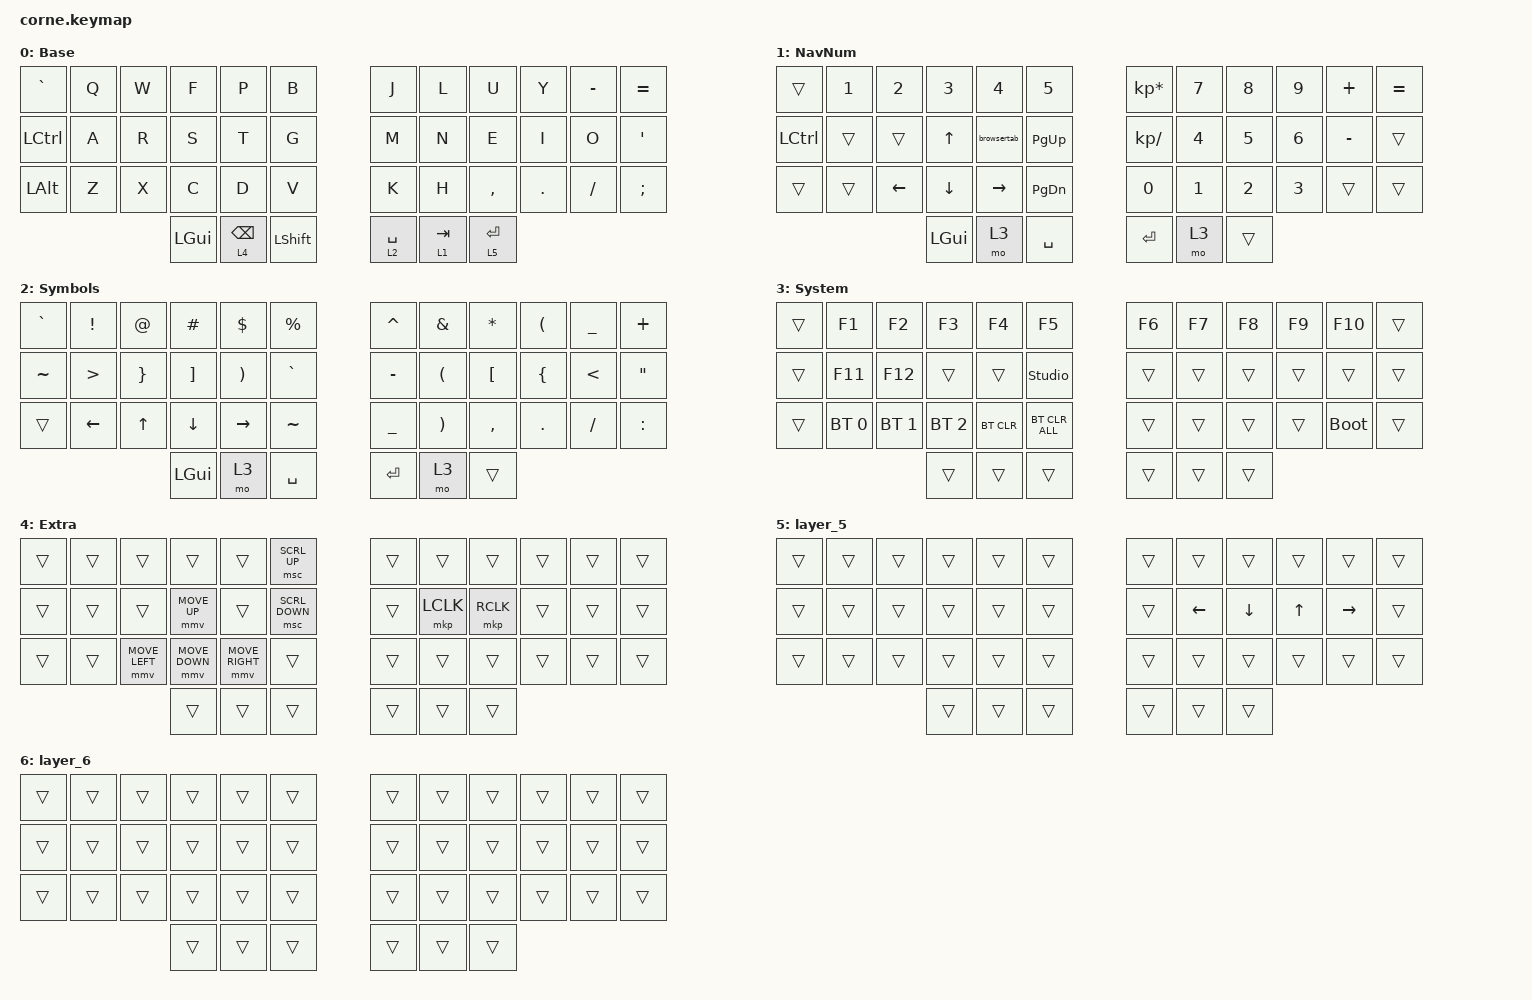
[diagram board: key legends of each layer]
#include <behaviors.dtsi>
#include <dt-bindings/zmk/bt.h>
#include <dt-bindings/zmk/keys.h>
#include <dt-bindings/zmk/pointing.h>

#define DEF 0
#define NAV 1
#define SYM 2
#define ADJ 3
#define EXTRA 4

/ {
    behaviors {
        hm: homerow_mods {
            compatible = "zmk,behavior-hold-tap";
            #binding-cells = <2>;
            tapping-term-ms = <200>;
            flavor = "tap-preferred";
            bindings = <&kp>, <&kp>;

            quick-tap-ms = <180>;
            require-prior-idle-ms = <120>; /* tune to taste */
        };

        para: para {
            compatible = "zmk,behavior-tap-dance";
            #binding-cells = <0>;
            bindings = <&kp LEFT_PARENTHESIS>, <&kp RIGHT_PARENTHESIS>;
        };

        caps: caps {
            compatible = "zmk,behavior-caps-word";
            #binding-cells = <0>;
            continue-list = <MINUS BACKSPACE>;
        };

        paraless: paraless {
            compatible = "zmk,behavior-mod-morph";
            bindings = <&kp LEFT_PARENTHESIS>, <&kp LESS_THAN>;

            #binding-cells = <0>;
            mods = <(MOD_LSFT)>;
        };

        paragreat: paragreat {
            compatible = "zmk,behavior-mod-morph";
            bindings = <&kp RIGHT_PARENTHESIS>, <&kp GREATER_THAN>;

            #binding-cells = <0>;
            mods = <(MOD_LSFT)>;
        };
    };

    macros {
        browsertab: browsertab {
            compatible = "zmk,behavior-macro";
            #binding-cells = <0>;
            bindings =
                <&macro_press>,
                <&kp LCTRL>,
                <&macro_tap>,
                <&kp TAB>,
                <&macro_release>,
                <&kp LCTRL>;
        };
    };

    combos {
        compatible = "zmk,combos";

        escape {
            bindings = <&kp ESCAPE>;
            key-positions = <15 16>;
        };

        perc {
            bindings = <&kp PERCENT>;
            key-positions = <5 17>;
            layers = <0>;
        };

        equal {
            bindings = <&kp EQUAL>;
            key-positions = <28 16>;
            layers = <0>;
        };

        dollar {
            bindings = <&kp DOLLAR>;
            key-positions = <4 16>;
            layers = <0>;
        };

        pound {
            bindings = <&kp POUND>;
            key-positions = <3 15>;
            layers = <0>;
        };

        at {
            bindings = <&kp AT>;
            key-positions = <2 14>;
            layers = <0>;
        };

        backslash {
            bindings = <&kp BACKSLASH>;
            key-positions = <26 14>;
            layers = <0>;
        };

        star {
            bindings = <&kp STAR>;
            key-positions = <8 20>;
            layers = <0>;
        };

        slash {
            bindings = <&kp SLASH>;
            key-positions = <32 20>;
            layers = <0>;
        };

        plus {
            bindings = <&kp PLUS>;
            key-positions = <7 19>;
            layers = <0>;
        };

        minus {
            bindings = <&kp KP_MINUS>;
            key-positions = <31 19>;
            layers = <0>;
        };

        underscore {
            bindings = <&kp UNDER>;
            key-positions = <30 18>;
            layers = <0>;
        };

        leftbrack {
            bindings = <&kp LEFT_BRACKET>;
            key-positions = <31 32>;
            layers = <0>;
        };

        rightbrack {
            bindings = <&kp RIGHT_BRACKET>;
            key-positions = <33 32>;
            layers = <0>;
        };

        leftpar {
            bindings = <&kp LEFT_PARENTHESIS>;
            key-positions = <19 20>;
        };

        rightpar {
            bindings = <&kp RIGHT_PARENTHESIS>;
            key-positions = <21 20>;
        };

        resc {
            bindings = <&kp ESCAPE>;
            key-positions = <19 20>;
        };
    };

    //

    keymap {
        compatible = "zmk,keymap";

        DEF {
            display-name = "Base";

            // -----------------------------------------------------------------------------------------
            // |  Q  |  W  |  F  |  P  |  B  |   |  J  |  L   |  U  |  Y  |  ;  |
            // |  A  |  R  |  S  |  T  |  G  |   |  M  |  N   |  E  |  I  |  O  |
            // |  Z  |  X  |  C  |  D  |  V  |   |  K  |  H   |  ,  |  .  |  /  |
            // | GUI | CTRL | SHFT | LWR | SPC |   | ENT | RSE  | BKSP | ALT | ESC |

            bindings = <
&kp GRAVE     &kp Q  &kp W  &kp F         &kp P            &kp B        &kp J        &kp L      &kp U        &kp Y    &kp MINUS  &kp EQUAL
&kp LCTRL     &kp A  &kp R  &kp S         &kp T            &kp G        &kp M        &kp N      &kp E        &kp I    &kp O      &kp SQT
&kp LEFT_ALT  &kp Z  &kp X  &kp C         &kp D            &kp V        &kp K        &kp H      &kp COMMA    &kp DOT  &kp FSLH   &kp SEMICOLON
                            &kp LEFT_GUI  &lt 4 BACKSPACE  &kp LSHFT    &lt 2 SPACE  &lt 1 TAB  &lt 5 ENTER
            >;
        };

        NAV {
            display-name = "NavNum";

            // -----------------------------------------------------------------------------------------
            // |  TAB |  1  |  2  |  3  |  4  |  5  |   |  6  |  7  |  8  |  9  |  0  | BKSP |
            // | BTCLR| BT1 | BT2 | BT3 | BT4 | BT5 |   | LFT | DWN |  UP | RGT |     |      |
            // | SHFT |     |     |     |     |     |   |     |     |     |     |     |      |
            // | GUI | CTRL | SHFT | LWR | SPC |   | ENT | RSE  | BKSP | ALT | ESC |

            bindings = <
&trans     &kp N1  &kp N2    &kp N3        &kp N4           &kp N5           &kp KP_MULTIPLY  &kp N7  &kp N8  &kp N9  &kp PLUS   &kp EQUAL
&kp LCTRL  &trans  &trans    &kp UP_ARROW  &browsertab      &kp PAGE_UP      &kp KP_DIVIDE    &kp N4  &kp N5  &kp N6  &kp MINUS  &trans
&trans     &trans  &kp LEFT  &kp DOWN      &kp RIGHT_ARROW  &kp PAGE_DOWN    &kp N0           &kp N1  &kp N2  &kp N3  &trans     &trans
                             &kp LGUI      &mo 3            &kp SPACE        &kp RET          &mo 3   &trans
            >;
        };

        SYM {
            display-name = "Symbols";

            // -----------------------------------------------------------------------------------------
            // |  TAB |  !  |  @  |  #  |  $  |  %  |   |  ^  |  &  |  *  |  (  |  )  | BKSP |
            // | CTRL |     |     |     |     |     |   |  -  |  =  |  [  |  ]  |  \  |  `   |
            // | SHFT |     |     |     |     |     |   |  _  |  +  |  {  |  }  | "|" |  ~   |
            //                    | GUI |     | SPC |   | ENT |     | ALT |

            bindings = <
&kp GRAVE  &kp EXCL          &kp AT           &kp HASH           &kp DLLR               &kp PRCNT    &kp CARET  &kp AMPS               &kp ASTRK         &kp LEFT_PARENTHESIS  &kp UNDER      &kp PLUS
&kp TILDE  &kp GREATER_THAN  &kp RIGHT_BRACE  &kp RIGHT_BRACKET  &kp RIGHT_PARENTHESIS  &kp GRAVE    &kp MINUS  &kp LEFT_PARENTHESIS   &kp LEFT_BRACKET  &kp LEFT_BRACE        &kp LESS_THAN  &kp DOUBLE_QUOTES
&trans     &kp LEFT_ARROW    &kp UP_ARROW     &kp DOWN_ARROW     &kp RIGHT_ARROW        &kp TILDE    &kp UNDER  &kp RIGHT_PARENTHESIS  &kp COMMA         &kp PERIOD            &kp SLASH      &kp COLON
                                              &kp LGUI           &mo 3                  &kp SPACE    &kp RET    &mo 3                  &trans
            >;
        };

        ADJ {
            display-name = "System";
            bindings = <
&trans  &kp F1        &kp F2        &kp F3        &kp F4      &kp F5            &kp F6  &kp F7  &kp F8  &kp F9  &kp F10      &trans
&trans  &kp F11       &kp F12       &trans        &trans      &studio_unlock    &trans  &trans  &trans  &trans  &trans       &trans
&trans  &bt BT_SEL 0  &bt BT_SEL 1  &bt BT_SEL 2  &bt BT_CLR  &bt BT_CLR_ALL    &trans  &trans  &trans  &trans  &bootloader  &trans
                                    &trans        &trans      &trans            &trans  &trans  &trans
            >;
        };

        EXTRA {
            display-name = "Extra";
            bindings = <
&trans  &trans  &trans          &trans          &trans           &msc SCRL_UP      &trans  &trans     &trans     &trans  &trans  &trans
&trans  &trans  &trans          &mmv MOVE_UP    &trans           &msc SCRL_DOWN    &trans  &mkp LCLK  &mkp RCLK  &trans  &trans  &trans
&trans  &trans  &mmv MOVE_LEFT  &mmv MOVE_DOWN  &mmv MOVE_RIGHT  &trans            &trans  &trans     &trans     &trans  &trans  &trans
                                &trans          &trans           &trans            &trans  &trans     &trans
            >;
        };

        layer_5 {
            bindings = <
&trans  &trans  &trans  &trans  &trans  &trans    &trans  &trans    &trans    &trans        &trans     &trans
&trans  &trans  &trans  &trans  &trans  &trans    &trans  &kp LEFT  &kp DOWN  &kp UP_ARROW  &kp RIGHT  &trans
&trans  &trans  &trans  &trans  &trans  &trans    &trans  &trans    &trans    &trans        &trans     &trans
                        &trans  &trans  &trans    &trans  &trans    &trans
            >;
        };

        layer_6 {
            bindings = <
&trans  &trans  &trans  &trans  &trans  &trans    &trans  &trans  &trans  &trans  &trans  &trans
&trans  &trans  &trans  &trans  &trans  &trans    &trans  &trans  &trans  &trans  &trans  &trans
&trans  &trans  &trans  &trans  &trans  &trans    &trans  &trans  &trans  &trans  &trans  &trans
                        &trans  &trans  &trans    &trans  &trans  &trans
            >;
        };
    };
};
